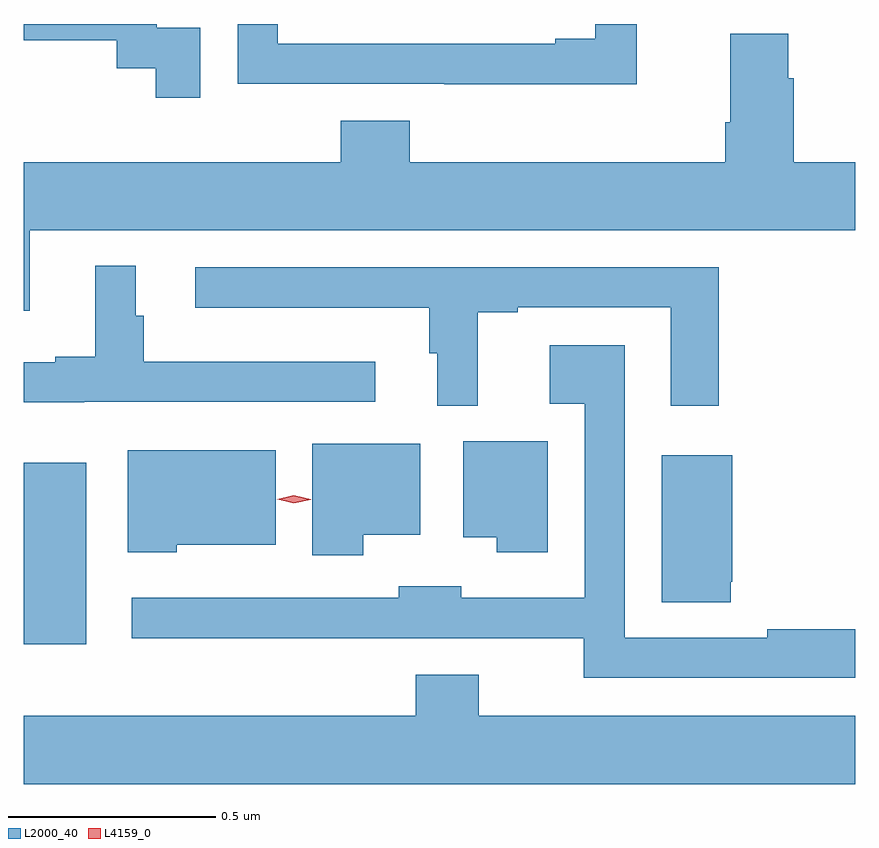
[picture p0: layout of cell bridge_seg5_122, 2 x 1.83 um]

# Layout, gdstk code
import gdstk
lib = gdstk.Library(unit=1e-6, precision=1e-09)
def R(c, l, rs):  # rectangles x0, y0, x1, y1
    for r in rs: c.add(gdstk.rectangle(r[:2], r[2:], *l))
def P(c, l, *ps):  # polygons
    for p in ps: c.add(gdstk.Polygon(p, *l))
L2000_40 = (2000, 40)
L4159_0 = (4159, 0)

bridge_seg5_122 = lib.new_cell('bridge_seg5_122')
R(bridge_seg5_122, L2000_40, [(438.172,902.384,438.322,902.821)])
P(bridge_seg5_122, L2000_40, [(438.597,903.867),(438.492,903.867),(438.492,903.876),(438.172,903.876),(438.172,903.837),(438.396,903.837),(438.396,903.769),(438.489,903.769),(438.489,903.699),(438.597,903.699)],
  [(439.647,903.876),(439.547,903.876),(439.547,903.841),(439.451,903.841),(439.451,903.828),(438.783,903.828),(438.783,903.876),(438.687,903.876),(438.687,903.732),(439.183,903.732),(439.183,903.731),(439.647,903.731)],
  [(438.187,903.38),(440.172,903.38),(440.172,903.544),(440.024,903.544),(440.024,903.746),(440.011,903.746),(440.011,903.853),(439.871,903.853),(439.871,903.64),(439.859,903.64),(439.859,903.544),(439.1,903.544),(439.1,903.643),(438.935,903.643),(438.935,903.544),(438.172,903.544),(438.172,903.186),(438.187,903.186)],
  [(438.318,902.967),(439.018,902.967),(439.018,903.064),(438.461,903.064),(438.461,903.174),(438.442,903.174),(438.442,903.295),(438.344,903.295),(438.344,903.076),(438.248,903.076),(438.248,903.063),(438.172,903.063),(438.172,902.966),(438.318,902.966)],
  [(439.264,903.183),(439.36,903.183),(439.36,903.195),(439.728,903.195),(439.728,902.958),(439.844,902.958),(439.844,903.291),(438.585,903.291),(438.585,903.194),(439.147,903.194),(439.147,903.084),(439.166,903.084),(439.166,902.958),(439.264,902.958)],
  [(440.172,902.42),(439.96,902.42),(439.96,902.4),(439.617,902.4),(439.617,903.103),(439.437,903.103),(439.437,902.963),(439.521,902.963),(439.521,902.496),(439.224,902.496),(439.224,902.524),(439.074,902.524),(439.074,902.496),(438.432,902.496),(438.432,902.399),(439.519,902.399),(439.519,902.304),(440.172,902.304)],
  [(439.432,902.872),(439.229,902.872),(439.229,902.642),(439.31,902.642),(439.31,902.606),(439.432,902.606)],
  [(438.988,902.648),(439.126,902.648),(439.126,902.866),(438.866,902.866),(438.866,902.598),(438.988,902.598)],
  [(438.54,902.624),(438.778,902.624),(438.778,902.851),(438.422,902.851),(438.422,902.606),(438.54,902.606)],
  [(439.872,902.535),(439.876,902.535),(439.876,902.839),(439.706,902.839),(439.706,902.485),(439.872,902.485)],
  [(440.172,902.212),(439.267,902.212),(439.267,902.311),(439.115,902.311),(439.115,902.212),(438.172,902.212),(438.172,902.048),(440.172,902.048)])
P(bridge_seg5_122, L4159_0, [(438.822,902.723),(438.782,902.733),(438.782,902.733),(438.782,902.733),(438.822,902.743),(438.862,902.733),(438.862,902.733),(438.862,902.732)])

lib.write_gds('bridge_seg5_122.gds')
